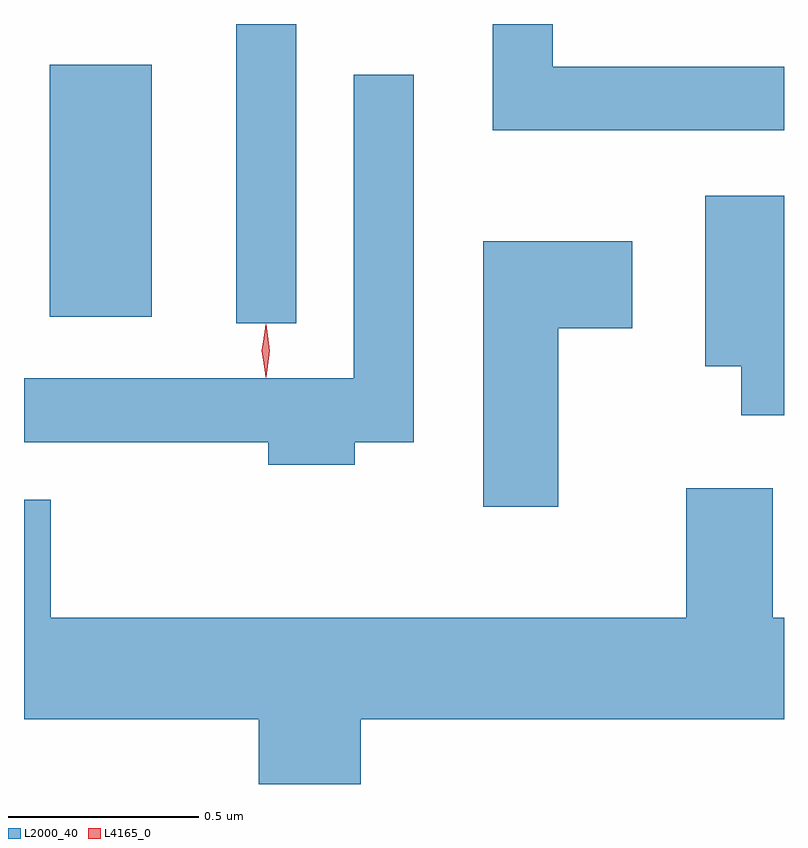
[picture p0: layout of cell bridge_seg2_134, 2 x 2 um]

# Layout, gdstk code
import gdstk
lib = gdstk.Library(unit=1e-6, precision=1e-09)
def R(c, l, rs):  # rectangles x0, y0, x1, y1
    for r in rs: c.add(gdstk.rectangle(r[:2], r[2:], *l))
def P(c, l, *ps):  # polygons
    for p in ps: c.add(gdstk.Polygon(p, *l))
L2000_40 = (2000, 40)
L4165_0 = (4165, 0)

bridge_seg2_134 = lib.new_cell('bridge_seg2_134')
R(bridge_seg2_134, L2000_40, [(994.236,1113.738,994.394,1114.526), (993.746,1113.756,994.014,1114.419)])
P(bridge_seg2_134, L2000_40, [(995.678,1114.414),(995.069,1114.414),(995.069,1114.526),(994.911,1114.526),(994.911,1114.246),(995.678,1114.246)],
  [(994.549,1113.426),(994.704,1113.426),(994.704,1114.393),(994.546,1114.393),(994.546,1113.594),(993.678,1113.594),(993.678,1113.426),(994.321,1113.426),(994.321,1113.366),(994.549,1113.366)],
  [(995.678,1114.074),(995.471,1114.074),(995.471,1113.626),(995.566,1113.626),(995.566,1113.496),(995.678,1113.496)],
  [(995.084,1113.726),(995.279,1113.726),(995.279,1113.954),(994.886,1113.954),(994.886,1113.256),(995.084,1113.256)],
  [(994.564,1112.696),(995.678,1112.696),(995.678,1112.964),(995.649,1112.964),(995.649,1113.304),(995.421,1113.304),(995.421,1112.964),(993.749,1112.964),(993.749,1113.274),(993.678,1113.274),(993.678,1112.696),(994.296,1112.696),(994.296,1112.526),(994.564,1112.526)])
P(bridge_seg2_134, L4165_0, [(994.314,1113.599),(994.314,1113.6),(994.304,1113.666),(994.314,1113.732),(994.314,1113.733),(994.315,1113.732),(994.324,1113.666),(994.315,1113.6)],
  [(994.314,1113.597),(994.305,1113.666),(994.314,1113.736),(994.315,1113.736),(994.315,1113.736),(994.325,1113.666),(994.315,1113.597),(994.315,1113.597)])

lib.write_gds('bridge_seg2_134.gds')
